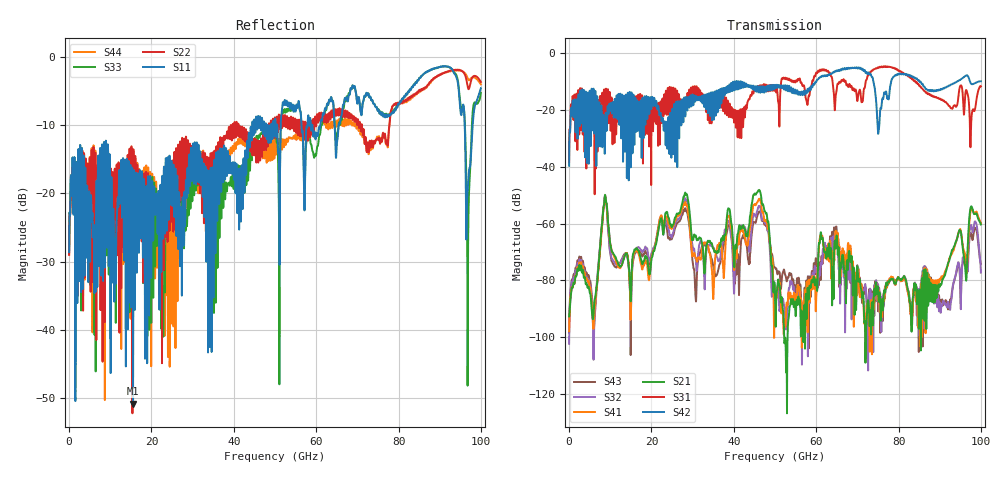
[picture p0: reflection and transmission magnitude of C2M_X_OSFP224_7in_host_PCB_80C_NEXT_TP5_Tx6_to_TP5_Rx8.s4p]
# GHz S RI R 45
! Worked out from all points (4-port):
!   4000 points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, 25 MHz to 100 GHz, reference 45 ohm
!   strongest paths, dB at 25 MHz, 25.02 GHz, 50.02 GHz, 75.03 GHz, 100 GHz:
!     S42: -39.6, -20.3, -11.2, -28.0, -9.8
!     S31: -38.4, -15.7, -11.5, -5.0, -11.6
!     S21: -92.7, -61.1, -85.5, -82.8, -60.3
!     S41: -97.9, -61.5, -87.4, -85.6, -59.8
!     S32: -102.3, -64.4, -83.2, -81.3, -77.3
!     S43: -98.4, -65.1, -75.6, -90.5, -74.2
!   lowest |S11| = -50.8 dB at 15.55 GHz (marker M1), VSWR 1.01, Z = 45.1 + j0.253 ohm
!   |S11| at or under -10 dB: start of sweep to 44.48 GHz; 59.1 GHz to 61.02 GHz (1.918 GHz wide, 3.19 % of centre); 96.08 GHz to 98 GHz (1.927 GHz wide, 1.99 % of centre)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
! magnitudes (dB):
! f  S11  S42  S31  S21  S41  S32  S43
! 25 MHz  -28.6  -39.6  -38.4  -92.7  -97.9  -102.3  -98.4
! 8.725 GHz  -30.8  -32.0  -23.9  -49.9  -50.4  -50.2  -50.5
! 15.55 GHz  -50.8  -15.9  -20.4  -70.7  -71.8  -72.2  -73.2
! 28.25 GHz  -22.2  -21.7  -17.4  -49.1  -52.4  -51.1  -54.6
! 46.15 GHz  -10.4  -11.7  -12.7  -48.1  -51.3  -53.7  -55.7
! 49.98 GHz  -9.6  -11.1  -11.8  -83.1  -87.9  -82.5  -75.4
! 100 GHz  -4.6  -9.8  -11.6  -60.3  -59.8  -77.3  -74.2
